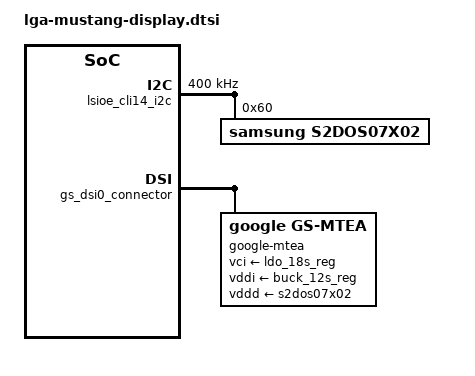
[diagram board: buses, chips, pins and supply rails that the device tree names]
// SPDX-License-Identifier: GPL-2.0-only

#include <dt-bindings/gpio/gpio.h>

&lsioe_cli14_i2c {
	status = "okay";
	#address-cells = <1>;
	#size-cells = <0>;
	clock-frequency = <400000>;
	s2dos07x02: s2dos07x02@60 {
		compatible = "samsung,s2dos07x02";
		reg = <0x60>;
		status = "okay";
		regulator-name = "s2dos07x02-pmic";
	};
};

&gs_dsi0_connector {
	google,preferred-panel = <&google_gs_mtea>;

	google_gs_mtea: panel-gs-mtea {
		compatible = "google,gs-mtea";
		label = "google-mtea";
		channel = <0>;
		allowed-hs-clks = <1368 1346>;

		/* reset, power */
		reset-gpios = <PMICS2DISP0_RESET_L(GPIO_ACTIVE_HIGH)>;
		tout-gpios = <DISP0_2_AP_PROX0_TOUT(GPIO_ACTIVE_HIGH)>;
		err_fg-gpios = <DISP0_2_AP_ERR_FG(GPIO_ACTIVE_HIGH)>;
		vci-supply = <&ldo_18s_reg>;
		vddi-supply = <&buck_12s_reg>;
		vddd-supply = <&s2dos07x02>;
		vddd-normal-microvolt = <887500>;
		vddd-lp-microvolt     = <862500>;

		/* touch */
		touch = <&spitouch>;
	};
};

&dsi2h0 {
	datarate = <1368>;
};
